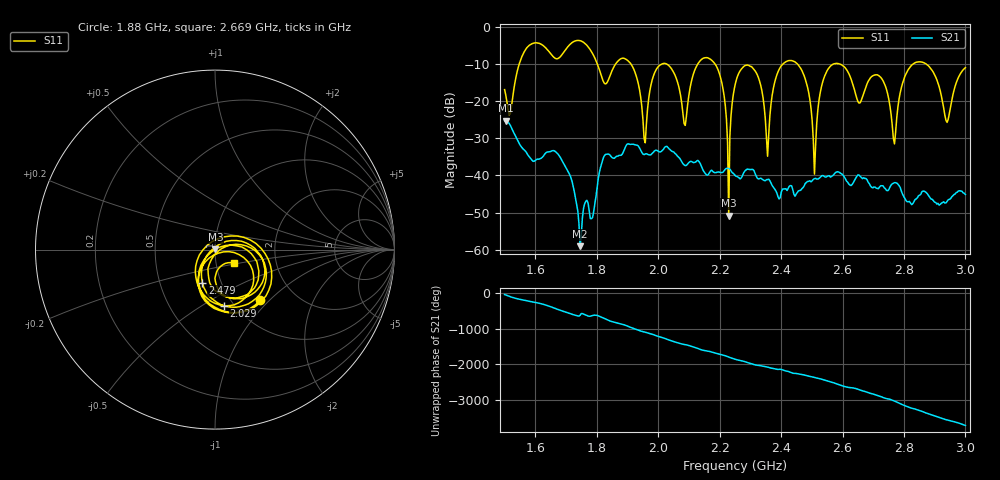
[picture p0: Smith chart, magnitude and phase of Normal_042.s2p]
# HZ S RI R 50
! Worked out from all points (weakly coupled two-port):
!   404 points, 1.5 GHz to 3 GHz, reference 50 ohm
!   highest |S21| = -25.22 dB at 1.504 GHz (marker M1); lowest = -59.1 dB at 1.746 GHz (marker M2)
!   lowest |S11| = -50.8 dB at 2.23 GHz (marker M3), VSWR 1.01, Z = 50.2 + j0.206 ohm
!   |S11| at or under -10 dB: 2.186 GHz to 2.405 GHz (219.4 MHz wide, 9.56 % of centre); 2.593 GHz to 2.829 GHz (235.2 MHz wide, 8.68 % of centre); 2.874 GHz to end of sweep (the widest 3 of 8)
!   S12 and S22 are empty: the file has one direction only
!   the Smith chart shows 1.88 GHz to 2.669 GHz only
!   S11 on the Smith chart (normalised r, x): 1.88 GHz: 1.34, -0.88; 2.029 GHz: 0.90, -0.63; 2.479 GHz: 0.81, -0.32; 2.669 GHz: 1.22, -0.19
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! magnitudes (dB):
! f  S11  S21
! 1.5 GHz  -16.8  -25.3
! 1.504 GHz  -18.3  -25.2
! 1.746 GHz  -3.6  -59.1
! 1.753 GHz  -3.9  -51.5
! 1.88 GHz  -8.4  -34.5
! 1.958 GHz  -31.2  -34.2
! 2.002 GHz  -10.4  -33.6
! 2.029 GHz  -10.0  -32.1
! 2.088 GHz  -26.5  -37.3
! 2.181 GHz  -9.5  -39.1
! 2.23 GHz  -50.8  -38.1
! 2.252 GHz  -15.0  -40.1
! 2.315 GHz  -11.7  -39.4
! 2.356 GHz  -34.8  -41.1
! 2.401 GHz  -10.4  -44.5
! 2.479 GHz  -14.0  -42.1
! 2.501 GHz  -25.2  -41.4
! 2.568 GHz  -10.0  -40.0
! 2.669 GHz  -17.8  -40.6
! 2.751 GHz  -19.4  -43.8
! 2.94 GHz  -25.7  -47.0
! 3 GHz  -10.9  -45.1
